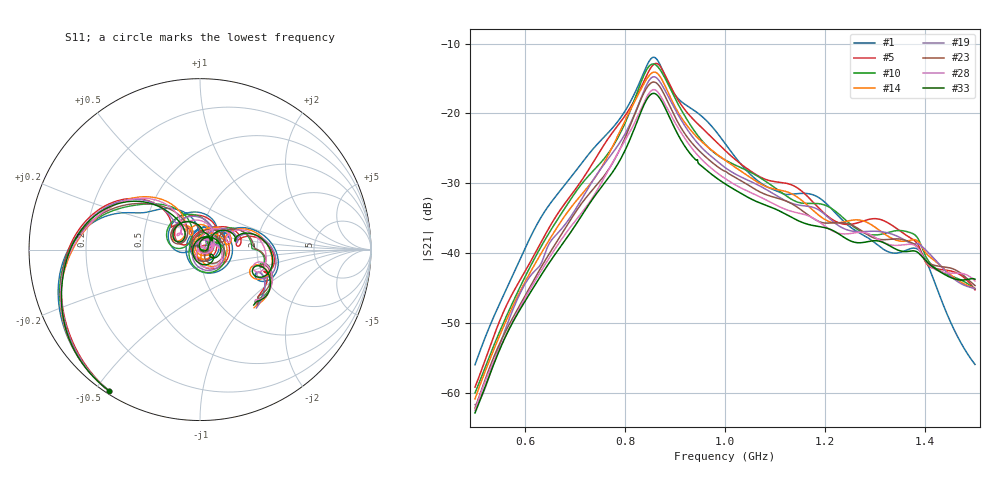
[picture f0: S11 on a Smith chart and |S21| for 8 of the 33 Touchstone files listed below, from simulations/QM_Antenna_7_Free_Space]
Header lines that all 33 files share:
! TOUCHSTONE file generated by CST MICROWAVE STUDIO
! Project name: Scenario_1_Free_SPace.cst
! Header version: 2018
! Port assignment regex: !\s*Touchstone port\s*([0-9]+)\s*=\s*(CST MWS port|CST DS port)\s*([0-9]+|Zmin|Zmax)\s*\(\"(.*)\"\)(\s*mode\s*([0-9]+))?.*
! Touchstone port assignment:
! Touchstone port 1 = CST MWS port 1 ("")
! Touchstone port 2 = CST MWS port 2 ("")
# GHz S DB R 50
Fixed: L_HA = 400, MT = 2.54, Rad_Dielectric = 30, Rad_Lower = 7.3, Rad_Upper = 30, a_HA = 580, a_WG = 246, b_HA = 500, b_WG = 121, c_HA = 0, c_WG = 187, d_feed = 85, h_feed = 15, h_lower = 18, h_upper = 40
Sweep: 500 MHz to 1.5 GHz
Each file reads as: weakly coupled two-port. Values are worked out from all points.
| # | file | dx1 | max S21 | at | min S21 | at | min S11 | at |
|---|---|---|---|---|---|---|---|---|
| 1 | 0_1.s2p | 173 | -11.96 dB | 857 MHz | -56.0 dB | 500 MHz | -29.6 dB | 747 MHz |
| 2 | 0_9.s2p | 311.8 | -12.23 dB | 858 MHz | -58.4 dB | 500 MHz | -46.7 dB | 972 MHz |
| 3 | 0_10.s2p | 329.1 | -12.51 dB | 858 MHz | -58.7 dB | 500 MHz | -33.4 dB | 953 MHz |
| 4 | 0_11.s2p | 346 | -12.71 dB | 860 MHz | -58.9 dB | 500 MHz | -29.7 dB | 1.109 GHz |
| 5 | 0_12.s2p | 363.7 | -12.84 dB | 862 MHz | -59.2 dB | 500 MHz | -57.2 dB | 1.168 GHz |
| 6 | 0_13.s2p | 381.1 | -12.86 dB | 858 MHz | -59.3 dB | 500 MHz | -38.5 dB | 1.075 GHz |
| 7 | 0_14.s2p | 398.4 | -12.81 dB | 857 MHz | -59.5 dB | 500 MHz | -31.8 dB | 1.054 GHz |
| 8 | 0_15.s2p | 415.7 | -12.77 dB | 857 MHz | -59.7 dB | 500 MHz | -29.9 dB | 1.033 GHz |
| 9 | 0_16.s2p | 433 | -12.77 dB | 856 MHz | -59.8 dB | 500 MHz | -34.3 dB | 889 MHz |
| 10 | 0_17.s2p | 450.3 | -12.92 dB | 856 MHz | -60.1 dB | 500 MHz | -47.3 dB | 883 MHz |
| 11 | 0_18.s2p | 467.7 | -13.20 dB | 860 MHz | -60.4 dB | 500 MHz | -35.8 dB | 974 MHz |
| 12 | 0_19.s2p | 485 | -13.46 dB | 857 MHz | -60.5 dB | 500 MHz | -50.8 dB | 958 MHz |
| 13 | 0_20.s2p | 502.3 | -13.76 dB | 857 MHz | -60.7 dB | 500 MHz | -52.4 dB | 1.099 GHz |
| 14 | 0_21.s2p | 520 | -14.08 dB | 859 MHz | -60.9 dB | 500 MHz | -34.2 dB | 1.082 GHz |
| 15 | 0_22.s2p | 537 | -14.32 dB | 858 MHz | -61.1 dB | 500 MHz | -31.5 dB | 922 MHz |
| 16 | 0_23.s2p | 554.3 | -14.53 dB | 859 MHz | -61.3 dB | 500 MHz | -29.8 dB | 915 MHz |
| 17 | 0_24.s2p | 571.6 | -14.66 dB | 862 MHz | -61.5 dB | 500 MHz | -31.0 dB | 909 MHz |
| 18 | 0_25.s2p | 588.9 | -14.73 dB | 858 MHz | -61.6 dB | 500 MHz | -33.4 dB | 901 MHz |
| 19 | 0_26.s2p | 606 | -14.75 dB | 858 MHz | -61.7 dB | 500 MHz | -41.2 dB | 894 MHz |
| 20 | 0_27.s2p | 623.6 | -14.87 dB | 857 MHz | -61.8 dB | 500 MHz | -42.4 dB | 888 MHz |
| 21 | 0_28.s2p | 640.9 | -15.06 dB | 861 MHz | -62.1 dB | 500 MHz | -43.4 dB | 1.103 GHz |
| 22 | 0_29.s2p | 658.2 | -15.24 dB | 857 MHz | -62.1 dB | 500 MHz | -39.7 dB | 948 MHz |
| 23 | 0_30.s2p | 675.5 | -15.50 dB | 857 MHz | -62.2 dB | 500 MHz | -54.3 dB | 937 MHz |
| 24 | 0_31.s2p | 693 | -15.76 dB | 858 MHz | -62.2 dB | 500 MHz | -39.3 dB | 928 MHz |
| 25 | 0_32.s2p | 710.2 | -16.01 dB | 857 MHz | -62.3 dB | 500 MHz | -35.3 dB | 920 MHz |
| 26 | 0_33.s2p | 727.5 | -16.25 dB | 858 MHz | -62.4 dB | 500 MHz | -34.5 dB | 914 MHz |
| 27 | 0_34.s2p | 744.8 | -16.47 dB | 863 MHz | -62.5 dB | 500 MHz | -31.1 dB | 1.124 GHz |
| 28 | 0_35.s2p | 762.1 | -16.59 dB | 858 MHz | -62.5 dB | 500 MHz | -41.5 dB | 1.117 GHz |
| 29 | 0_36.s2p | 780 | -16.72 dB | 858 MHz | -62.6 dB | 500 MHz | -61.8 dB | 897 MHz |
| 30 | 0_37.s2p | 796.8 | -16.79 dB | 858 MHz | -62.7 dB | 500 MHz | -37.5 dB | 892 MHz |
| 31 | 0_38.s2p | 814.1 | -16.88 dB | 858 MHz | -62.8 dB | 500 MHz | -32.3 dB | 949 MHz |
| 32 | 0_39.s2p | 831.4 | -17.01 dB | 857 MHz | -62.9 dB | 500 MHz | -37.9 dB | 939 MHz |
| 33 | 0_40.s2p | 848.7 | -17.13 dB | 857 MHz | -62.9 dB | 500 MHz | -49.3 dB | 931 MHz |
